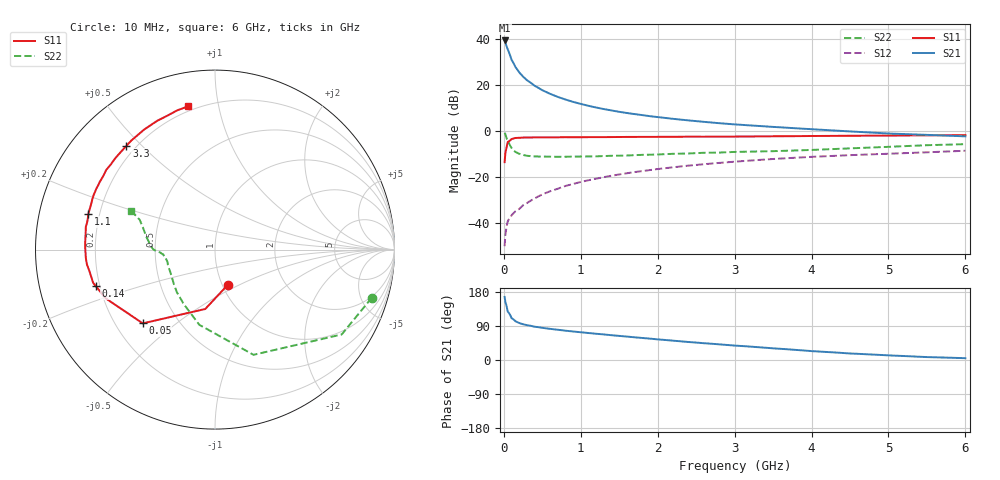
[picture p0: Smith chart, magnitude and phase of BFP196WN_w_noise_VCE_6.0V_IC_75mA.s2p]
! Infineon Technologies  Discrete & RF Semiconductors
! BFP196WN
! VCE =  6.0 V,  IC =  75 mA
! Common Emitter S-Parameters:  Jan 2017
# GHz  S  MA  R  50
!  f  S11  S21  S12  S22
! GHz  MAG  ANG  MAG  ANG  MAG  ANG  MAG  ANG
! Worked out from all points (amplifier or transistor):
!   77 points, 10 MHz to 6 GHz, reference 50 ohm
!   highest |S21| = 39.4 dB at 10 MHz (marker M1)
!   |S21| within 3 dB of that: start of sweep to 40.76 MHz
!   unconditionally stable (mu >= 1): 564.7 MHz to 2.385 GHz; 2.472 GHz to 2.638 GHz
!   at 130 MHz: K = 0.63, MSG = 32.5 dB, |S12| = -35.7 dB
!   at 2.2 GHz: K = 1.02, MAG = 9.8 dB, |S12| = -15.8 dB
!   at 6 GHz: K = 0.91, MSG = 3.1 dB, |S12| = -8.6 dB
!   lowest NFmin = 1.53 dB at 450 MHz
!   S11 on the Smith chart (normalised r, x): 10 MHz: 1.06, -0.44; 50 MHz: 0.31, -0.38; 140 MHz: 0.18, -0.14; 1.1 GHz: 0.16, +0.14; 3.3 GHz: 0.16, +0.45; 6 GHz: 0.17, +0.82
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0.01  0.2091 -70.2  93.46 166.4  0.0031 81.5  0.9135 -17.1
0.02  0.3354 -99.3  84.61 153.2  0.0056 71.8  0.8497 -33.8
0.05  0.5753 -134.4  60.13 127.9  0.0107 53.8  0.6242 -69.9
0.1  0.667 -156.0  35.54 110.3  0.0145 51.6  0.4281 -101.8
0.14  0.6952 -163.1  26.94 104.5  0.0171 52.0  0.3619 -115.8
0.15  0.7038 -164.8  24.86 102.4  0.0178 52.1  0.3495 -120.0
0.2  0.7097 -170.2  18.89 97.6  0.02 58.9  0.3186 -131.8
0.25  0.7183 -173.4  15.23 94.3  0.0241 60.8  0.3006 -139.4
0.3  0.721 -176.1  12.76 91.9  0.0269 63.2  0.288 -145.7
0.4  0.7227 179.9  9.639 87.9  0.0339 67.0  0.2789 -153.1
0.5  0.7243 176.8  7.725 84.9  0.0415 68.1  0.277 -158.5
0.6  0.7252 174.3  6.455 82.2  0.0486 69.4  0.2757 -162.3
0.7  0.7271 172.2  5.525 79.9  0.0552 70.9  0.2734 -164.8
0.9  0.7284 167.9  4.298 75.2  0.07 70.6  0.2767 -168.3
1.1  0.7334 164.2  3.528 71.2  0.0845 70.2  0.2787 -171.2
1.5  0.7389 157.7  2.611 63.6  0.1131 68.1  0.2896 -174.7
2.1  0.7448 148.1  1.92 52.8  0.155 64.0  0.3129 -177.6
3.1  0.7563 133.4  1.356 36.8  0.2203 55.6  0.352 178.1
3.3  0.7601 130.5  1.289 33.9  0.2327 53.8  0.3575 176.7
4.1  0.7781 119.1  1.068 22.3  0.2777 46.9  0.392 168.7
5.1  0.7946 108.4  0.868 11.3  0.3238 39.3  0.4588 158.0
6  0.8123 100.6  0.763 4.8  0.3706 33.3  0.5159 155.7
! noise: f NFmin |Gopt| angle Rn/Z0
0.45  1.53  0.57  -176  0.05
0.9  1.66  0.59  -169  0.06
1.9  2.6  0.7  -147  0.2
2.4  3.41  0.71  -138  0.33
